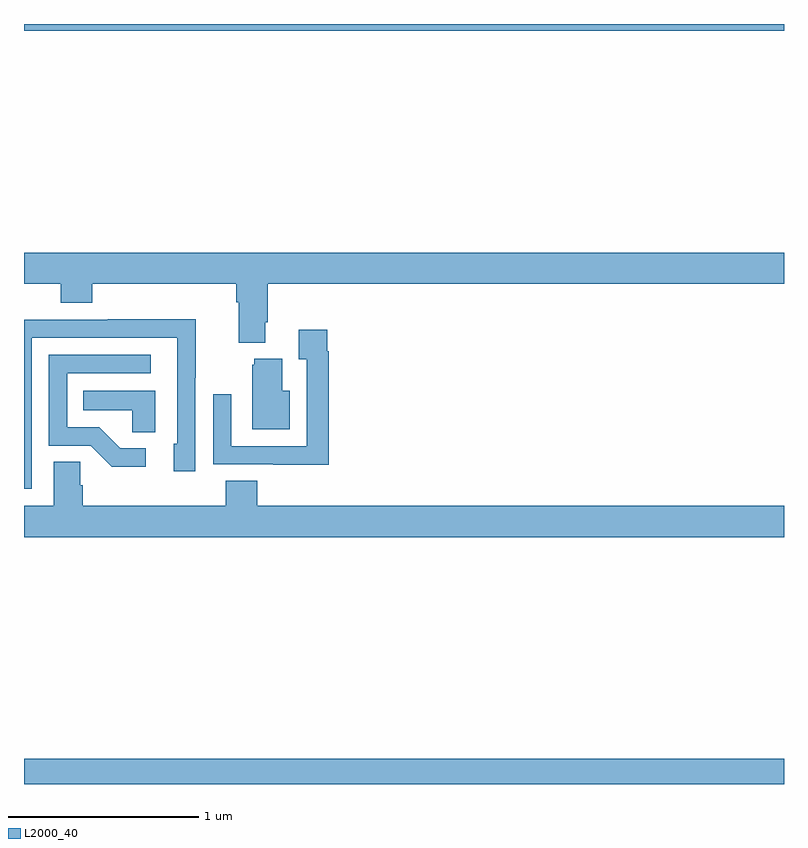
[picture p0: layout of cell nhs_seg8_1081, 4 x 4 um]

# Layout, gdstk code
import gdstk
lib = gdstk.Library(unit=1e-6, precision=1e-09)
def R(c, l, rs):  # rectangles x0, y0, x1, y1
    for r in rs: c.add(gdstk.rectangle(r[:2], r[2:], *l))
def P(c, l, *ps):  # polygons
    for p in ps: c.add(gdstk.Polygon(p, *l))
L2000_40 = (2000, 40)

nhs_seg8_1081 = lib.new_cell('nhs_seg8_1081')
R(nhs_seg8_1081, L2000_40, [(181,1081.9,185,1082.032), (181,1085.864,185,1085.9)])
P(nhs_seg8_1081, L2000_40, [(182.269,1084.33),(182.282,1084.33),(182.282,1084.532),(185,1084.532),(185,1084.696),(181,1084.696),(181,1084.532),(181.193,1084.532),(181.193,1084.433),(181.358,1084.433),(181.358,1084.532),(182.117,1084.532),(182.117,1084.436),(182.129,1084.436),(182.129,1084.223),(182.269,1084.223)],
  [(181.041,1084.248),(181.806,1084.248),(181.806,1083.69),(181.787,1083.69),(181.787,1083.546),(181.902,1083.546),(181.902,1084.039),(181.905,1084.039),(181.905,1084.346),(181.441,1084.346),(181.441,1084.344),(181,1084.344),(181,1083.453),(181.041,1083.453)],
  [(182.603,1084.178),(182.596,1084.178),(182.596,1084.291),(182.447,1084.291),(182.447,1084.135),(182.487,1084.135),(182.487,1083.678),(182.091,1083.678),(182.091,1083.952),(181.995,1083.952),(181.995,1083.582),(182.311,1083.582),(182.311,1083.581),(182.603,1083.581)],
  [(181.642,1083.666),(181.507,1083.666),(181.396,1083.777),(181.227,1083.777),(181.227,1084.062),(181.666,1084.062),(181.666,1084.158),(181.131,1084.158),(181.131,1083.681),(181.35,1083.681),(181.463,1083.569),(181.642,1083.569)],
  [(182.398,1083.97),(182.359,1083.97),(182.359,1084.138),(182.213,1084.138),(182.213,1084.107),(182.201,1084.107),(182.201,1083.767),(182.398,1083.767)],
  [(181.69,1083.97),(181.312,1083.97),(181.312,1083.866),(181.569,1083.866),(181.569,1083.751),(181.69,1083.751)],
  [(185,1083.364),(182.228,1083.364),(182.228,1083.497),(182.063,1083.497),(182.063,1083.364),(181.31,1083.364),(181.31,1083.473),(181.296,1083.473),(181.296,1083.596),(181.157,1083.596),(181.157,1083.364),(181,1083.364),(181,1083.2),(185,1083.2)])

lib.write_gds('nhs_seg8_1081.gds')
